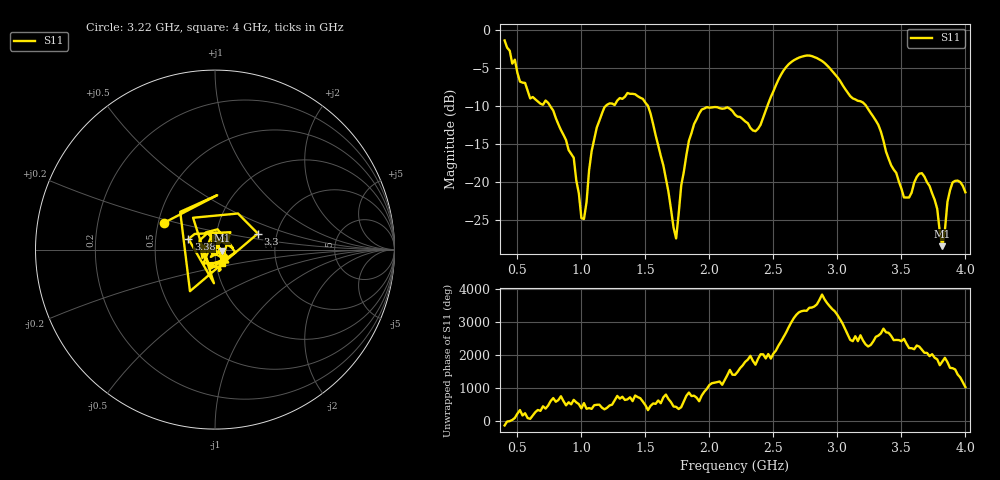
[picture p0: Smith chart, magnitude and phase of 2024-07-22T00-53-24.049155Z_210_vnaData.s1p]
!Created with skrf (http://scikit-rf.org).
# Hz S RI R 50.0
!freq ReS11 ImS11
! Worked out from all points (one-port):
!   181 points, 400 MHz to 4 GHz, reference 50 ohm
!   lowest |S11| = -28.4 dB at 3.82 GHz (marker M1), VSWR 1.08, Z = 53.9 - j0.582 ohm
!   |S11| at or under -10 dB: 757.5 MHz to 1.187 GHz (430 MHz wide, 44.2 % of centre); 1.521 GHz to 2.452 GHz (930.9 MHz wide, 46.9 % of centre); 3.226 GHz to end of sweep
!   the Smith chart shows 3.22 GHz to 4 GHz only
!   S11 on the Smith chart (normalised r, x): 3.22 GHz: 0.53, +0.18; 3.3 GHz: 1.59, +0.30; 3.38 GHz: 0.74, +0.09; 4 GHz: 1.07, -0.16
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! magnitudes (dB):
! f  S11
! 400 MHz  -1.3
! 600 MHz  -9.0
! 740 MHz  -9.5
! 860 MHz  -13.8
! 940 MHz  -16.8
! 1 GHz  -24.7
! 1.02 GHz  -24.8
! 1.12 GHz  -12.8
! 1.3 GHz  -8.9
! 1.52 GHz  -9.9
! 1.74 GHz  -27.4
! 1.76 GHz  -24.1
! 1.84 GHz  -14.5
! 1.92 GHz  -11.0
! 2.2 GHz  -11.1
! 2.36 GHz  -13.3
! 2.66 GHz  -3.9
! 2.88 GHz  -4.0
! 3.1 GHz  -8.7
! 3.22 GHz  -9.8
! 3.3 GHz  -11.9
! 3.38 GHz  -16.0
! 3.56 GHz  -22.0
! 3.68 GHz  -19.3
! 3.78 GHz  -23.5
! 3.82 GHz  -28.4
! 3.9 GHz  -20.0
! 4 GHz  -21.3
